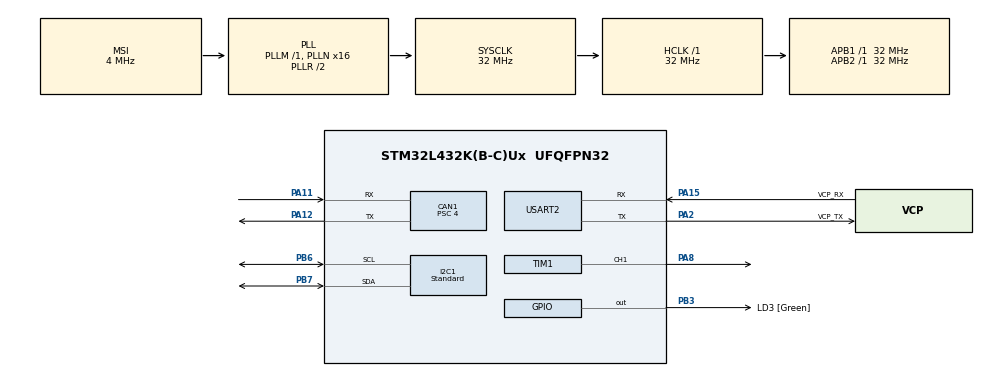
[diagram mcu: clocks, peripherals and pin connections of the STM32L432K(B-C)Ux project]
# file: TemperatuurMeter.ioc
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CAN1.AWUM=ENABLE
CAN1.BS1=CAN_BS1_15TQ
CAN1.BS2=CAN_BS2_2TQ
CAN1.CalculateBaudRate=444444
CAN1.CalculateTimeBit=2250
CAN1.CalculateTimeQuantum=125.0
CAN1.Prescaler=4
I2C1.Analog_Filter=I2C_ANALOGFILTER_ENABLE
I2C1.CustomTiming=Disabled
I2C1.GeneralCallMode=I2C_GENERALCALL_DISABLE
I2C1.I2C_Speed_Mode=I2C_Standard
I2C1.NoStretchMode=I2C_NOSTRETCH_DISABLE
I2C1.OwnAddress=1
I2C1.Timing=0x00707CBB
Mcu.Family=STM32L4
Mcu.Name=STM32L432K(B-C)Ux
Mcu.Package=UFQFPN32
NVIC.CAN1_RX0_IRQn=true\:0\:0\:false\:false\:true\:true\:true\:true
NVIC.CAN1_RX1_IRQn=true\:0\:0\:false\:false\:true\:true\:true\:true
NVIC.CAN1_SCE_IRQn=true\:0\:0\:false\:false\:true\:true\:true\:true
NVIC.CAN1_TX_IRQn=true\:0\:0\:false\:false\:true\:true\:true\:true
NVIC.PriorityGroup=NVIC_PRIORITYGROUP_4
PA0.GPIO_Label=MCO [High speed clock in]
PA0.Mode=HSE-External-Clock-Source-for-LittleOrca
PA0.Signal=RCC_CK_IN
PA11.GPIO_PuPd=GPIO_NOPULL
PA11.Mode=CAN_Activate
PA11.Signal=CAN1_RX
PA12.Mode=CAN_Activate
PA12.Signal=CAN1_TX
PA13\ (JTMS-SWDIO).GPIO_Label=SWDIO
PA13\ (JTMS-SWDIO).Mode=Serial_Wire
PA13\ (JTMS-SWDIO).Signal=SYS_JTMS-SWDIO
PA14\ (JTCK-SWCLK).GPIO_Label=SWCLK
PA14\ (JTCK-SWCLK).Mode=Serial_Wire
PA14\ (JTCK-SWCLK).Signal=SYS_JTCK-SWCLK
PA15\ (JTDI).GPIO_Label=VCP_RX
PA15\ (JTDI).Mode=Asynchronous
PA15\ (JTDI).Signal=USART2_RX
PA2.GPIO_Label=VCP_TX
PA2.Mode=Asynchronous
PA2.Signal=USART2_TX
PA8.Signal=S_TIM1_CH1
PB3\ (JTDO-TRACESWO).GPIO_Label=LD3 [Green]
PB3\ (JTDO-TRACESWO).Signal=GPIO_Output
PB6.GPIO_Pu=GPIO_PULLUP
PB6.GPIO_Speed=GPIO_SPEED_FREQ_VERY_HIGH
PB6.Mode=I2C
PB6.Signal=I2C1_SCL
PB7.GPIO_Pu=GPIO_PULLUP
PB7.Mode=I2C
PB7.Signal=I2C1_SDA
PC14-OSC32_IN\ (PC14).Mode=LSE-External-Oscillator
PC14-OSC32_IN\ (PC14).Signal=RCC_OSC32_IN
PC15-OSC32_OUT\ (PC15).Mode=LSE-External-Oscillator
PC15-OSC32_OUT\ (PC15).Signal=RCC_OSC32_OUT
ProjectManager.HeapSize=0x200
ProjectManager.StackSize=0x400
ProjectManager.TargetToolchain=STM32CubeIDE
RCC.AHBFreq_Value=32000000
RCC.APB1Freq_Value=32000000
RCC.APB1TimFreq_Value=32000000
RCC.APB2Freq_Value=32000000
RCC.APB2TimFreq_Value=32000000
RCC.CortexFreq_Value=32000000
RCC.HCLKFreq_Value=32000000
RCC.HSE_VALUE=8000000
RCC.HSI16_VALUE=16000000
RCC.HSI48_VALUE=48000000
RCC.HSI_VALUE=16000000
RCC.MSI_VALUE=4000000
RCC.PLLMUL=RCC_PLLMUL_4
RCC.PLLN=16
RCC.SYSCLKFreq_VALUE=32000000
RCC.SYSCLKSource=RCC_SYSCLKSOURCE_PLLCLK
RCC.VCOOutputFreq_Value=64000000
SH.S_TIM1_CH1.0=TIM1_CH1,Output Compare1 CH1
TIM1.Channel-Output\ Compare1\ CH1=TIM_CHANNEL_1
TIM1.OCMode_1=TIM_OCMODE_TOGGLE
TIM1.Prescaler=3 - 1
TIM2.Prescaler=8000
USART2.VirtualMode-Asynchronous=VM_ASYNC
VP_TIM1_VS_ClockSourceINT.Mode=Internal
VP_TIM2_VS_ClockSourceINT.Mode=Internal
board=NUCLEO-L432KC

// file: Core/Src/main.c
/* USER CODE BEGIN Header */
/**
  ******************************************************************************
  * @file           : main.c
  * @brief          : Main program body
  ******************************************************************************
  * @attention
  *
  * Copyright (c) 2024 STMicroelectronics.
  * All rights reserved.
  *
  * This software is licensed under terms that can be found in the LICENSE file
  * in the root directory of this software component.
  * If no LICENSE file comes with this software, it is provided AS-IS.
  *
  ******************************************************************************
  */
/* USER CODE END Header */
#include "main.h"

/* USER CODE BEGIN Includes */
#include <string.h>
#include <stdio.h>

/* USER CODE END Includes */

/* USER CODE BEGIN PTD */
void speelToon(double toon, int tijd);
void speelBrandAlarm();
void leesTemp(float* temp, float* humid);
void sendTemp(float temp);
void sendHumid(float humid);
/* USER CODE END PTD */

/* USER CODE BEGIN PD */
#define KLOK_FREQ 32000000
#define PRESCALER 2
#define toon1 1000
#define toon2 600
#define TijdsDuur100 100

/* USER CODE END PD */

CAN_HandleTypeDef hcan1;

I2C_HandleTypeDef hi2c1;

TIM_HandleTypeDef htim1;
TIM_HandleTypeDef htim2;

UART_HandleTypeDef huart2;

void SystemClock_Config(void);
static void MX_GPIO_Init(void);
static void MX_USART2_UART_Init(void);
static void MX_I2C1_Init(void);
static void MX_TIM1_Init(void);
static void MX_CAN1_Init(void);
static void MX_TIM2_Init(void);

/* USER CODE BEGIN 0 */

//canbus
uint32_t mb;
CAN_TxHeaderTypeDef msg;
uint8_t data[] = {1};

CAN_RxHeaderTypeDef msg2;
uint8_t data2[8];

int brandAlarm = 0;

/* USER CODE END 0 */

int main(void)
{

  /* MCU Configuration--------------------------------------------------------*/

  /* Reset of all peripherals, Initializes the Flash interface and the Systick. */
  HAL_Init();

  /* Configure the system clock */
  SystemClock_Config();

  /* Initialize all configured peripherals */
  MX_GPIO_Init();
  MX_USART2_UART_Init();
  MX_I2C1_Init();
  MX_TIM1_Init();
  MX_CAN1_Init();
  MX_TIM2_Init();
  /* USER CODE BEGIN 2 */

  /* Config:
   * I2C1_SDA = PB7 (D4) PULL-UP, very high
   * I2C1_SCL = PB6 (D5) PULL-UP, very high
   * GND & V5
   *
   * standard mode 100 kpbs
   * primary slave address = 1
   */

  float temperature, humidity;
  char temperatuurTekst[50];
  char luchtvochtigheidTekst[50];
  char newLine[6] = "\n\r";

  uint32_t lastTempTime = 0;
  uint32_t lastHumidTime = 0;

  uint8_t welkom[50] = "Temperatuur & luchtvochtigheid sensor:\n\r\n\r";
  HAL_UART_Transmit(&huart2, welkom, sizeof(welkom), HAL_MAX_DELAY);

 // HAL_CAN_Start(&hcan1);

  HAL_TIM_OC_Start(&htim1, TIM_CHANNEL_1);
  __HAL_TIM_SET_AUTORELOAD(&htim1, 0);

  HAL_TIM_Base_Start(&htim2);
  /* USER CODE END 2 */

  /* Infinite loop */
  /* USER CODE BEGIN WHILE */
  while (1)
  {
	    if(brandAlarm == 1){
	    	speelBrandAlarm();
	    }

	    leesTemp(&temperature, &humidity);

	    //zet alles tekst en data in één variabele
	    sprintf(temperatuurTekst, "Temperatuur: %.2f°C\n\r", temperature);
	    sprintf(luchtvochtigheidTekst, "Luchtvochtigheid: %.2f%%\n\r", humidity);

	    // print de temperatuur en luchtvochtigheid
	    HAL_UART_Transmit(&huart2, (uint8_t*)temperatuurTekst, strlen(temperatuurTekst), 100);
	    HAL_UART_Transmit(&huart2, (uint8_t*)luchtvochtigheidTekst, strlen(luchtvochtigheidTekst), 100);
	    HAL_UART_Transmit(&huart2, (uint8_t*)newLine, strlen(newLine), HAL_MAX_DELAY);

	    /* 1 keer per seconde
	     * feq = klokf / (pre * arr)
	     * 1 = 80.000.000 / (8000 * 10.000)
	     */
	    uint32_t currentTime = __HAL_TIM_GET_COUNTER(&htim2);

        if ((currentTime - lastTempTime) >= 10000) { // elke seconde
            sendTemp(temperature);
            lastTempTime = currentTime;
        }

        if ((currentTime - lastHumidTime) >= 20000) { // elke twee seconden
            sendHumid(humidity);
            lastHumidTime = currentTime;
        }

    /* USER CODE END WHILE */

  }
}

void SystemClock_Config(void)
{
  RCC_OscInitTypeDef RCC_OscInitStruct = {0};
  RCC_ClkInitTypeDef RCC_ClkInitStruct = {0};

  /** Configure the main internal regulator output voltage
  */
  if (HAL_PWREx_ControlVoltageScaling(PWR_REGULATOR_VOLTAGE_SCALE1) != HAL_OK)
  {
    Error_Handler();
  }

  /** Configure LSE Drive Capability
  */
  HAL_PWR_EnableBkUpAccess();
  __HAL_RCC_LSEDRIVE_CONFIG(RCC_LSEDRIVE_LOW);

  /** Initializes the RCC Oscillators according to the specified parameters
  * in the RCC_OscInitTypeDef structure.
  */
  RCC_OscInitStruct.OscillatorType = RCC_OSCILLATORTYPE_LSE|RCC_OSCILLATORTYPE_MSI;
  RCC_OscInitStruct.LSEState = RCC_LSE_ON;
  RCC_OscInitStruct.MSIState = RCC_MSI_ON;
  RCC_OscInitStruct.MSICalibrationValue = 0;
  RCC_OscInitStruct.MSIClockRange = RCC_MSIRANGE_6;
  RCC_OscInitStruct.PLL.PLLState = RCC_PLL_ON;
  RCC_OscInitStruct.PLL.PLLSource = RCC_PLLSOURCE_MSI;
  RCC_OscInitStruct.PLL.PLLM = 1;
  RCC_OscInitStruct.PLL.PLLN = 16;
  RCC_OscInitStruct.PLL.PLLP = RCC_PLLP_DIV7;
  RCC_OscInitStruct.PLL.PLLQ = RCC_PLLQ_DIV2;
  RCC_OscInitStruct.PLL.PLLR = RCC_PLLR_DIV2;
  if (HAL_RCC_OscConfig(&RCC_OscInitStruct) != HAL_OK)
  {
    Error_Handler();
  }

  /** Initializes the CPU, AHB and APB buses clocks
  */
  RCC_ClkInitStruct.ClockType = RCC_CLOCKTYPE_HCLK|RCC_CLOCKTYPE_SYSCLK
                              |RCC_CLOCKTYPE_PCLK1|RCC_CLOCKTYPE_PCLK2;
  RCC_ClkInitStruct.SYSCLKSource = RCC_SYSCLKSOURCE_PLLCLK;
  RCC_ClkInitStruct.AHBCLKDivider = RCC_SYSCLK_DIV1;
  RCC_ClkInitStruct.APB1CLKDivider = RCC_HCLK_DIV1;
  RCC_ClkInitStruct.APB2CLKDivider = RCC_HCLK_DIV1;

  if (HAL_RCC_ClockConfig(&RCC_ClkInitStruct, FLASH_LATENCY_1) != HAL_OK)
  {
    Error_Handler();
  }

  /** Enable MSI Auto calibration
  */
  HAL_RCCEx_EnableMSIPLLMode();
}

static void MX_CAN1_Init(void)
{

  /* USER CODE BEGIN CAN1_Init 1 */
	  hcan1.Instance = CAN1;
	  hcan1.Init.Prescaler = 4;
	  hcan1.Init.Mode = CAN_MODE_NORMAL;
	  hcan1.Init.SyncJumpWidth = CAN_SJW_1TQ;
	  hcan1.Init.TimeSeg1 = CAN_BS1_15TQ;
	  hcan1.Init.TimeSeg2 = CAN_BS2_2TQ;
	  hcan1.Init.TimeTriggeredMode = DISABLE;
	  hcan1.Init.AutoBusOff = DISABLE;
	  hcan1.Init.AutoWakeUp = ENABLE;
	  hcan1.Init.AutoRetransmission = DISABLE;
	  hcan1.Init.ReceiveFifoLocked = DISABLE;
	  hcan1.Init.TransmitFifoPriority = DISABLE;

	  if (HAL_CAN_Init(&hcan1) != HAL_OK)
	  {
	    Error_Handler();
	  }

  /* USER CODE END CAN1_Init 1 */
  hcan1.Instance = CAN1;
  hcan1.Init.Prescaler = 4;
  hcan1.Init.Mode = CAN_MODE_NORMAL;
  hcan1.Init.SyncJumpWidth = CAN_SJW_1TQ;
  hcan1.Init.TimeSeg1 = CAN_BS1_15TQ;
  hcan1.Init.TimeSeg2 = CAN_BS2_2TQ;
  hcan1.Init.TimeTriggeredMode = DISABLE;
  hcan1.Init.AutoBusOff = DISABLE;
  hcan1.Init.AutoWakeUp = ENABLE;
  hcan1.Init.AutoRetransmission = DISABLE;
  hcan1.Init.ReceiveFifoLocked = DISABLE;
  hcan1.Init.TransmitFifoPriority = DISABLE;
  if (HAL_CAN_Init(&hcan1) != HAL_OK)
  {
    Error_Handler();
  }
  /* USER CODE BEGIN CAN1_Init 2 */
	  CAN_FilterTypeDef sFilterConfig;

	  sFilterConfig.FilterBank = 0;
	  sFilterConfig.FilterMode = CAN_FILTERMODE_IDMASK;
	  sFilterConfig.FilterScale = CAN_FILTERSCALE_32BIT;
	  sFilterConfig.FilterIdHigh = 0x0000;
	  sFilterConfig.FilterIdLow = 0x0000;
	  sFilterConfig.FilterMaskIdHigh = 0x0000;
	  sFilterConfig.FilterMaskIdLow = 0x0000;
	  sFilterConfig.FilterFIFOAssignment = CAN_RX_FIFO0;
	  sFilterConfig.FilterActivation = ENABLE;
	  sFilterConfig.SlaveStartFilterBank = 12;

	     if (HAL_CAN_ConfigFilter(&hcan1, &sFilterConfig) != HAL_OK) {
	       Error_Handler();
	     }

	     if (HAL_CAN_Start(&hcan1) != HAL_OK) {
	       Error_Handler();
	     }

	     if (HAL_CAN_ActivateNotification(&hcan1, CAN_IT_RX_FIFO0_MSG_PENDING | CAN_IT_TX_MAILBOX_EMPTY) != HAL_OK)
	     {
	     /* Notification Error */
	     Error_Handler();
	     }
  /* USER CODE END CAN1_Init 2 */

}

static void MX_I2C1_Init(void)
{

  hi2c1.Instance = I2C1;
  hi2c1.Init.Timing = 0x00707CBB;
  hi2c1.Init.OwnAddress1 = 2;
  hi2c1.Init.AddressingMode = I2C_ADDRESSINGMODE_7BIT;
  hi2c1.Init.DualAddressMode = I2C_DUALADDRESS_DISABLE;
  hi2c1.Init.OwnAddress2 = 0;
  hi2c1.Init.OwnAddress2Masks = I2C_OA2_NOMASK;
  hi2c1.Init.GeneralCallMode = I2C_GENERALCALL_DISABLE;
  hi2c1.Init.NoStretchMode = I2C_NOSTRETCH_DISABLE;
  if (HAL_I2C_Init(&hi2c1) != HAL_OK)
  {
    Error_Handler();
  }

  /** Configure Analogue filter
  */
  if (HAL_I2CEx_ConfigAnalogFilter(&hi2c1, I2C_ANALOGFILTER_ENABLE) != HAL_OK)
  {
    Error_Handler();
  }

  /** Configure Digital filter
  */
  if (HAL_I2CEx_ConfigDigitalFilter(&hi2c1, 0) != HAL_OK)
  {
    Error_Handler();
  }

}

static void MX_TIM1_Init(void)
{

  TIM_ClockConfigTypeDef sClockSourceConfig = {0};
  TIM_MasterConfigTypeDef sMasterConfig = {0};
  TIM_OC_InitTypeDef sConfigOC = {0};
  TIM_BreakDeadTimeConfigTypeDef sBreakDeadTimeConfig = {0};

  htim1.Instance = TIM1;
  htim1.Init.Prescaler = 3 - 1;
  htim1.Init.CounterMode = TIM_COUNTERMODE_UP;
  htim1.Init.Period = 65535;
  htim1.Init.ClockDivision = TIM_CLOCKDIVISION_DIV1;
  htim1.Init.RepetitionCounter = 0;
  htim1.Init.AutoReloadPreload = TIM_AUTORELOAD_PRELOAD_DISABLE;
  if (HAL_TIM_Base_Init(&htim1) != HAL_OK)
  {
    Error_Handler();
  }
  sClockSourceConfig.ClockSource = TIM_CLOCKSOURCE_INTERNAL;
  if (HAL_TIM_ConfigClockSource(&htim1, &sClockSourceConfig) != HAL_OK)
  {
    Error_Handler();
  }
  if (HAL_TIM_OC_Init(&htim1) != HAL_OK)
  {
    Error_Handler();
  }
  sMasterConfig.MasterOutputTrigger = TIM_TRGO_RESET;
  sMasterConfig.MasterOutputTrigger2 = TIM_TRGO2_RESET;
  sMasterConfig.MasterSlaveMode = TIM_MASTERSLAVEMODE_DISABLE;
  if (HAL_TIMEx_MasterConfigSynchronization(&htim1, &sMasterConfig) != HAL_OK)
  {
    Error_Handler();
  }
  sConfigOC.OCMode = TIM_OCMODE_TOGGLE;
  sConfigOC.Pulse = 0;
  sConfigOC.OCPolarity = TIM_OCPOLARITY_HIGH;
  sConfigOC.OCNPolarity = TIM_OCNPOLARITY_HIGH;
  sConfigOC.OCFastMode = TIM_OCFAST_DISABLE;
  sConfigOC.OCIdleState = TIM_OCIDLESTATE_RESET;
  sConfigOC.OCNIdleState = TIM_OCNIDLESTATE_RESET;
  if (HAL_TIM_OC_ConfigChannel(&htim1, &sConfigOC, TIM_CHANNEL_1) != HAL_OK)
  {
    Error_Handler();
  }
  sBreakDeadTimeConfig.OffStateRunMode = TIM_OSSR_DISABLE;
  sBreakDeadTimeConfig.OffStateIDLEMode = TIM_OSSI_DISABLE;
  sBreakDeadTimeConfig.LockLevel = TIM_LOCKLEVEL_OFF;
  sBreakDeadTimeConfig.DeadTime = 0;
  sBreakDeadTimeConfig.BreakState = TIM_BREAK_DISABLE;
  sBreakDeadTimeConfig.BreakPolarity = TIM_BREAKPOLARITY_HIGH;
  sBreakDeadTimeConfig.BreakFilter = 0;
  sBreakDeadTimeConfig.Break2State = TIM_BREAK2_DISABLE;
  sBreakDeadTimeConfig.Break2Polarity = TIM_BREAK2POLARITY_HIGH;
  sBreakDeadTimeConfig.Break2Filter = 0;
  sBreakDeadTimeConfig.AutomaticOutput = TIM_AUTOMATICOUTPUT_DISABLE;
  if (HAL_TIMEx_ConfigBreakDeadTime(&htim1, &sBreakDeadTimeConfig) != HAL_OK)
  {
    Error_Handler();
  }
  HAL_TIM_MspPostInit(&htim1);

}

static void MX_TIM2_Init(void)
{

  TIM_ClockConfigTypeDef sClockSourceConfig = {0};
  TIM_MasterConfigTypeDef sMasterConfig = {0};

  htim2.Instance = TIM2;
  htim2.Init.Prescaler = 8000;
  htim2.Init.CounterMode = TIM_COUNTERMODE_UP;
  htim2.Init.Period = 4294967295;
  htim2.Init.ClockDivision = TIM_CLOCKDIVISION_DIV1;
  htim2.Init.AutoReloadPreload = TIM_AUTORELOAD_PRELOAD_DISABLE;
  if (HAL_TIM_Base_Init(&htim2) != HAL_OK)
  {
    Error_Handler();
  }
  sClockSourceConfig.ClockSource = TIM_CLOCKSOURCE_INTERNAL;
  if (HAL_TIM_ConfigClockSource(&htim2, &sClockSourceConfig) != HAL_OK)
  {
    Error_Handler();
  }
  sMasterConfig.MasterOutputTrigger = TIM_TRGO_RESET;
  sMasterConfig.MasterSlaveMode = TIM_MASTERSLAVEMODE_DISABLE;
  if (HAL_TIMEx_MasterConfigSynchronization(&htim2, &sMasterConfig) != HAL_OK)
  {
    Error_Handler();
  }

}

static void MX_USART2_UART_Init(void)
{

  huart2.Instance = USART2;
  huart2.Init.BaudRate = 115200;
  huart2.Init.WordLength = UART_WORDLENGTH_8B;
  huart2.Init.StopBits = UART_STOPBITS_1;
  huart2.Init.Parity = UART_PARITY_NONE;
  huart2.Init.Mode = UART_MODE_TX_RX;
  huart2.Init.HwFlowCtl = UART_HWCONTROL_NONE;
  huart2.Init.OverSampling = UART_OVERSAMPLING_16;
  huart2.Init.OneBitSampling = UART_ONE_BIT_SAMPLE_DISABLE;
  huart2.AdvancedInit.AdvFeatureInit = UART_ADVFEATURE_NO_INIT;
  if (HAL_UART_Init(&huart2) != HAL_OK)
  {
    Error_Handler();
  }

}

static void MX_GPIO_Init(void)
{
  GPIO_InitTypeDef GPIO_InitStruct = {0};

  /* GPIO Ports Clock Enable */
  __HAL_RCC_GPIOC_CLK_ENABLE();
  __HAL_RCC_GPIOA_CLK_ENABLE();
  __HAL_RCC_GPIOB_CLK_ENABLE();

  /*Configure GPIO pin Output Level */
  HAL_GPIO_WritePin(LD3_GPIO_Port, LD3_Pin, GPIO_PIN_RESET);

  /*Configure GPIO pin : LD3_Pin */
  GPIO_InitStruct.Pin = LD3_Pin;
  GPIO_InitStruct.Mode = GPIO_MODE_OUTPUT_PP;
  GPIO_InitStruct.Pull = GPIO_NOPULL;
  GPIO_InitStruct.Speed = GPIO_SPEED_FREQ_LOW;
  HAL_GPIO_Init(LD3_GPIO_Port, &GPIO_InitStruct);

}

/* USER CODE BEGIN 4 */

/**
 * Functie voor het zenden van de temperatuur via CAN.
 */
void sendTemp(float temp){
	uint32_t mb;
    CAN_TxHeaderTypeDef msg;
    uint8_t data[4] = {0};

    memcpy(data, &temp, sizeof(float)); //4 bytes

    // Configureer het CAN bericht
    msg.StdId = 5;
    msg.IDE = CAN_ID_STD;
    msg.RTR = CAN_RTR_DATA;
    msg.DLC = 4;
    msg.TransmitGlobalTime = DISABLE;
	if (HAL_CAN_AddTxMessage(&hcan1, &msg, data, &mb) != HAL_OK) {
		Error_Handler();
	}
}
/**
 * Functie voor het zenden van de luchtvochtigheid via CAN.
 */
void sendHumid(float humid){
	uint32_t mb;
    CAN_TxHeaderTypeDef msg;
    uint8_t data[4] = {0};

    memcpy(data, &humid, sizeof(float)); //4 bytes

    // Configureer het CAN bericht
    msg.StdId = 6;
    msg.IDE = CAN_ID_STD;
    msg.RTR = CAN_RTR_DATA;
    msg.DLC = 4;
    msg.TransmitGlobalTime = DISABLE;
	if (HAL_CAN_AddTxMessage(&hcan1, &msg, data, &mb) != HAL_OK) {
		Error_Handler();
	}
}

/**
 * Interrupt functie wanneer er een bericht via CAN binnenkomt
 * Een bericht met ID 2 is voor het aansturen van de buzzer.
 */
void HAL_CAN_RxFifo0MsgPendingCallback(CAN_HandleTypeDef *hcan){
	if (HAL_CAN_GetRxMessage(&hcan1, CAN_RX_FIFO0, &msg2, data2) == HAL_OK){
		HAL_GPIO_TogglePin(GPIOB, GPIO_PIN_3);	//test led
		if(msg2.StdId == 2){
			if(data2[0] == 1){	//bij data '1' ontvangen moet het brandalarm aan
				brandAlarm = 1;
			}
			else if(data2[0] == 0){ //bij data '0' ontvangen moet het brandalarm uit
				brandAlarm = 0;
			}
		}
	}
}

/**
 * Interrupt functie om te testen dat er iets verzonden is met CANbus
 */
void HAL_CAN_TxMailbox0CompleteCallback(CAN_HandleTypeDef *hcan)
{
//HAL_GPIO_TogglePin(GPIOB, GPIO_PIN_3);
}

/**
 * Functie om temperatuur en luchtvochtigheid uit te lezen en om te zetten naar Celsius
 */
void leesTemp(float* temp, float* humid){
    uint8_t data[6] = {};
    int16_t tempRaw = 0;
    uint16_t humidityRaw = 0;
    uint8_t SHT3X_ADDR = 0x44 << 1; // SHT3x I2C address shifted left by 1 bit, omdat het I2C 7 bits is.

    //clock stetching enabled:
    uint8_t cmdCS[] = {0x2C, 0x06};

    // stuur commando om temperatuur uit te lezen
    HAL_I2C_Master_Transmit(&hi2c1, SHT3X_ADDR, cmdCS, sizeof(cmdCS), HAL_MAX_DELAY);
    HAL_Delay(100);

    // lees de temperatuur
    HAL_I2C_Master_Receive(&hi2c1, SHT3X_ADDR  | 0x01, data, 6, HAL_MAX_DELAY);

    // zet de ruwe data om naar reeële waardes
    //[0] & [1] zijn temperatuur data
    //[2] is CRC
    //[3] & [4] zijn luchtvochtigheids data
    //[5] is CRC

    tempRaw = (data[0] << 8) | data[1];
    *temp = -45 + 175 * ((float)tempRaw/65535);

    humidityRaw = (data[3] << 8) | data[4];
    *humid = 100 * ((float)humidityRaw / 65535);
}
/**
 * Functie om een toon af te laten spelen op de buzzer
 */
void speelToon(double toon, int tijd) {

	int ARR = KLOK_FREQ / (((2 * (PRESCALER + 1) * toon)) - 1);
	__HAL_TIM_SET_AUTORELOAD(&htim1, ARR);
	HAL_Delay(tijd);
	__HAL_TIM_SET_AUTORELOAD(&htim1, 0);			//naar 0 zetten voor rust tussen de noten in
}

/*
ARR = klokfreq / (((2 * (prescaler + 1) * gewenstefreq)) - 1)

Voor een brandalarm wordt vaak een pulserend geluid gebruikt met een frequentie tussen 800 Hz en 1200 Hz.
6.668 = 32.000.000 / ((2 * (2 + 1) * 800) - 1) //800hz
4.445 =	32.000.000 / ((2 * (2 + 1) * 1200 - 1) //1200hz
*/

/**
 * Functie om het geluid van een brandalarm te laten spelen
 */
void speelBrandAlarm(){
	speelToon(toon1, TijdsDuur100);
	HAL_Delay(TijdsDuur100);
	speelToon(toon2, TijdsDuur100);
	HAL_Delay(TijdsDuur100);
}
/* USER CODE END 4 */

void Error_Handler(void)
{
  __disable_irq();
  while (1)
  {
  }
}
